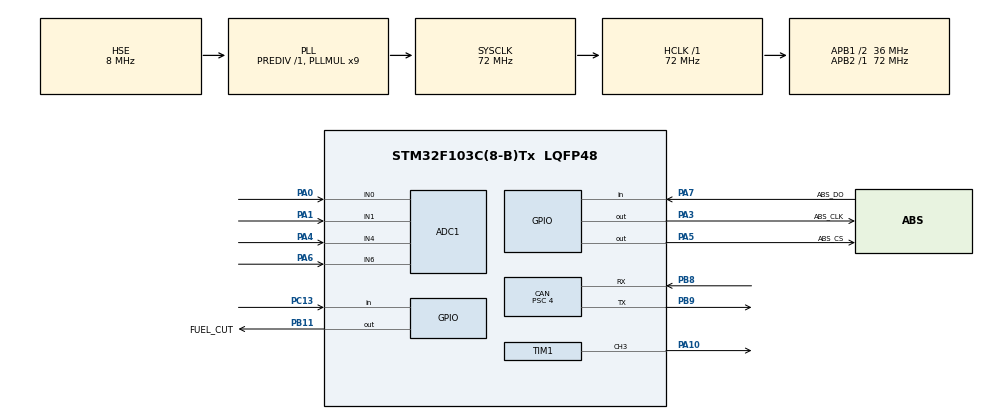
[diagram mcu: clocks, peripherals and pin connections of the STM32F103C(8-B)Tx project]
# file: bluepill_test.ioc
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ADC1.Channel-2\#ChannelRegularConversion=ADC_CHANNEL_0
ADC1.Channel-3\#ChannelRegularConversion=ADC_CHANNEL_1
ADC1.Channel-4\#ChannelRegularConversion=ADC_CHANNEL_4
ADC1.Channel-5\#ChannelRegularConversion=ADC_CHANNEL_6
ADC1.ContinuousConvMode=ENABLE
ADC1.NbrOfConversion=4
ADC1.NbrOfConversionFlag=1
ADC1.Rank-2\#ChannelRegularConversion=1
ADC1.Rank-3\#ChannelRegularConversion=2
ADC1.Rank-4\#ChannelRegularConversion=3
ADC1.Rank-5\#ChannelRegularConversion=4
ADC1.SamplingTime-2\#ChannelRegularConversion=ADC_SAMPLETIME_239CYCLES_5
ADC1.SamplingTime-3\#ChannelRegularConversion=ADC_SAMPLETIME_239CYCLES_5
ADC1.SamplingTime-4\#ChannelRegularConversion=ADC_SAMPLETIME_239CYCLES_5
ADC1.SamplingTime-5\#ChannelRegularConversion=ADC_SAMPLETIME_239CYCLES_5
ADC1.master=1
CAN.BS1=CAN_BS1_7TQ
CAN.CalculateTimeBit=1000
CAN.CalculateTimeQuantum=111.11111111111111
CAN.Prescaler=4
Dma.ADC1.0.Direction=DMA_PERIPH_TO_MEMORY
Dma.ADC1.0.Instance=DMA1_Channel1
Dma.ADC1.0.MemDataAlignment=DMA_MDATAALIGN_HALFWORD
Dma.ADC1.0.MemInc=DMA_MINC_ENABLE
Dma.ADC1.0.Mode=DMA_CIRCULAR
Dma.ADC1.0.PeriphDataAlignment=DMA_PDATAALIGN_HALFWORD
Dma.ADC1.0.PeriphInc=DMA_PINC_DISABLE
Dma.ADC1.0.Priority=DMA_PRIORITY_HIGH
Dma.Request0=ADC1
Mcu.Family=STM32F1
Mcu.Name=STM32F103C(8-B)Tx
Mcu.Package=LQFP48
NVIC.DMA1_Channel1_IRQn=true\:0\:0\:false\:false\:true\:false\:true
NVIC.PriorityGroup=NVIC_PRIORITYGROUP_2
NVIC.USB_LP_CAN1_RX0_IRQn=true\:0\:0\:false\:false\:true\:true\:true
PA0-WKUP.Signal=ADCx_IN0
PA1.Signal=ADCx_IN1
PA10.Signal=S_TIM1_CH3
PA13.Mode=Serial_Wire
PA13.Signal=SYS_JTMS-SWDIO
PA14.Mode=Serial_Wire
PA14.Signal=SYS_JTCK-SWCLK
PA3.GPIO_Label=ABS_CLK
PA3.Signal=GPIO_Output
PA4.Signal=ADCx_IN4
PA5.GPIO_Label=ABS_CS
PA5.Signal=GPIO_Output
PA6.Signal=ADCx_IN6
PA7.GPIO_Label=ABS_DO
PA7.Signal=GPIO_Input
PB11.GPIO_Label=FUEL_CUT
PB11.GPIO_PuPd=GPIO_PULLDOWN
PB11.GPIO_Speed=GPIO_SPEED_FREQ_HIGH
PB11.Signal=GPIO_Output
PB8.Mode=Master
PB8.Signal=CAN_RX
PB9.Mode=Master
PB9.Signal=CAN_TX
PC13-TAMPER-RTC.GPIO_PuPd=GPIO_NOPULL
PC13-TAMPER-RTC.Signal=GPIO_Input
PD0-OSC_IN.Mode=HSE-External-Oscillator
PD0-OSC_IN.Signal=RCC_OSC_IN
PD1-OSC_OUT.Mode=HSE-External-Oscillator
PD1-OSC_OUT.Signal=RCC_OSC_OUT
ProjectManager.HeapSize=0x200
ProjectManager.StackSize=0x400
ProjectManager.TargetToolchain=TrueSTUDIO
RCC.ADCPresc=RCC_ADCPCLK2_DIV6
RCC.AHBFreq_Value=72000000
RCC.APB1CLKDivider=RCC_HCLK_DIV2
RCC.APB1Freq_Value=36000000
RCC.APB1TimFreq_Value=72000000
RCC.APB2Freq_Value=72000000
RCC.APB2TimFreq_Value=72000000
RCC.HCLKFreq_Value=72000000
RCC.PLLMUL=RCC_PLL_MUL9
RCC.PLLSourceVirtual=RCC_PLLSOURCE_HSE
RCC.SYSCLKFreq_VALUE=72000000
RCC.SYSCLKSource=RCC_SYSCLKSOURCE_PLLCLK
RCC.USBFreq_Value=72000000
SH.ADCx_IN0.0=ADC1_IN0,IN0
SH.ADCx_IN0.1=ADC2_IN0
SH.ADCx_IN1.0=ADC1_IN1,IN1
SH.ADCx_IN4.0=ADC1_IN4,IN4
SH.ADCx_IN6.0=ADC1_IN6,IN6
SH.S_TIM1_CH3.0=TIM1_CH3,PWM Generation3 CH3
TIM1.Channel-PWM\ Generation3\ CH3=TIM_CHANNEL_3
TIM1.Period=19999
TIM1.Prescaler=71
board=custom

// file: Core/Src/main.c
/* USER CODE BEGIN Header */
/**
  ******************************************************************************
  * @file           : main.c
  * @brief          : Main program body
  ******************************************************************************
  * @attention
  *
  * <h2><center>&copy; Copyright (c) 2021 STMicroelectronics.
  * All rights reserved.</center></h2>
  *
  * This software component is licensed by ST under BSD 3-Clause license,
  * the "License"; You may not use this file except in compliance with the
  * License. You may obtain a copy of the License at:
  *                        opensource.org/licenses/BSD-3-Clause
  *
  ******************************************************************************
  */
/* USER CODE END Header */
#include "main.h"

/* USER CODE BEGIN Includes */
#include "GearControl.h"
#include "Encoder.h"
#include "MicroSwitch.h"
#include "GearSensor.h"
#include "stm32f1xx_it.h"
#include "CANManager.h"
/* USER CODE END Includes */

ADC_HandleTypeDef hadc1;
DMA_HandleTypeDef hdma_adc1;

CAN_HandleTypeDef hcan;

TIM_HandleTypeDef htim1;

/* USER CODE BEGIN PV */
__IO uint16 gearsens[N_CHANNELS];

/* USER CODE END PV */

void SystemClock_Config(void);
static void MX_GPIO_Init(void);
static void MX_DMA_Init(void);
static void MX_ADC1_Init(void);
static void MX_CAN_Init(void);
static void MX_TIM1_Init(void);

/* USER CODE BEGIN 0 */

#if 0
#define PWM_POS_DOWN (1100U)
#define PWM_POS_MID (1450U)
#define PWM_POS_TOP (1800U)
uint8 deg = 30;
void ServoTest()
{
	uint8 i = 0;
	HAL_TIM_PWM_Start(&htim1, TIM_CHANNEL_3);
	GearControl_Init(&htim1.Instance->CCR3);

	GearControl_SetServoPos(SET_DEG, POS_DEG_DEFAULT, 0);
	//Tim_Start(TIM_2MS);
	HAL_Delay(5000);
	GearControl_SetServoPos(SET_DEG, POS_DEG_DEFAULT + 30, 0);
	HAL_Delay(3000);
	GearControl_SetServoPos(SET_DEG, POS_DEG_DEFAULT + 0, 0);

	for(i = 0; i < 0; i++)
	{
	GearControl_SetServoPos(SET_DEG, POS_DEG_DEFAULT + deg, 0);
	HAL_Delay(150);
	GearControl_SetServoPos(SET_DEG, POS_DEG_DEFAULT, 0);
	HAL_Delay(2000);
	GearControl_SetServoPos(SET_DEG, POS_DEG_DEFAULT - deg, 0);
	HAL_Delay(150);
	GearControl_SetServoPos(SET_DEG, POS_DEG_DEFAULT, 0);
	HAL_Delay(2000);
	}

		GearControl_SetServoPos(SET_DEG, POS_DEG_DEFAULT, 0);
}
#endif

void PeriodicProcess2msHandler(void)
{
	/* Poll MicroSwitch Status */
	MicroSwitch_PollStatus();

	/* MicroSwitch process */
	MicroSwitch_Process();
}

void PeriodicProcess4msHandler(void)
{
	/* Gear Control process */
	GearControl_Process();

	/* Gear Sensor process */
	GearSensor_Process();
}

void PeriodicProcess100msHandler(void)
{
	OnOffSwitch_Process();
}

/* USER CODE END 0 */

int main(void)
{

  /* MCU Configuration--------------------------------------------------------*/

  /* Reset of all peripherals, Initializes the Flash interface and the Systick. */
  HAL_Init();

  /* Configure the system clock */
  SystemClock_Config();

  /* Initialize all configured peripherals */
  MX_GPIO_Init();
  MX_DMA_Init();
  MX_ADC1_Init();
  MX_CAN_Init();
  MX_TIM1_Init();
  /* USER CODE BEGIN 2 */
  __HAL_AFIO_REMAP_SWJ_NOJTAG();

  GearControl_FuelCutTrigger(OFF);
  /* Init CAN Manager */
  CANManager_Init(&hcan);
  /* Start servo PWM signal */
  HAL_TIM_PWM_Start(&htim1, TIM_CHANNEL_3);
  /* Initialize Gear Control module */
  GearControl_Init(&htim1.Instance->CCR3);
  /* Start Gear Sensor Adc DMA */
  HAL_ADC_Start_DMA(&hadc1, (uint32*)gearsens, N_CHANNELS);
  /* Initialize Gear Sensor module */
  GearSensor_Init(gearsens);
  /* Initialize MicroSwitch module */
  MicroSwitch_Init(gearsens);
  /* USER CODE END 2 */

  /* Infinite loop */
  /* USER CODE BEGIN WHILE */

  static const Scheduler schedule[N_PROCESS] = {{.handler = PeriodicProcess2msHandler, .period = 2U},
								                {.handler = PeriodicProcess4msHandler, .period = 4U},
												{.handler = PeriodicProcess100msHandler, .period = 100U}};

  while (1)
  {
    /* USER CODE END WHILE */

    /* USER CODE BEGIN 3 */
	  if (SysTickHasElapsed())
	  {
		  /* Reset Elapsed status */
		  SysTickResetElapsed();

		  /* Call Scheduler every SysTick (1ms) */
		  SchedulerEvaluate(schedule);
	  }
  }

  /* USER CODE END 3 */
}

void SystemClock_Config(void)
{
  RCC_OscInitTypeDef RCC_OscInitStruct = {0};
  RCC_ClkInitTypeDef RCC_ClkInitStruct = {0};
  RCC_PeriphCLKInitTypeDef PeriphClkInit = {0};

  /** Initializes the RCC Oscillators according to the specified parameters
  * in the RCC_OscInitTypeDef structure.
  */
  RCC_OscInitStruct.OscillatorType = RCC_OSCILLATORTYPE_HSE;
  RCC_OscInitStruct.HSEState = RCC_HSE_ON;
  RCC_OscInitStruct.HSEPredivValue = RCC_HSE_PREDIV_DIV1;
  RCC_OscInitStruct.HSIState = RCC_HSI_ON;
  RCC_OscInitStruct.PLL.PLLState = RCC_PLL_ON;
  RCC_OscInitStruct.PLL.PLLSource = RCC_PLLSOURCE_HSE;
  RCC_OscInitStruct.PLL.PLLMUL = RCC_PLL_MUL9;
  if (HAL_RCC_OscConfig(&RCC_OscInitStruct) != HAL_OK)
  {
    Error_Handler();
  }
  /** Initializes the CPU, AHB and APB buses clocks
  */
  RCC_ClkInitStruct.ClockType = RCC_CLOCKTYPE_HCLK|RCC_CLOCKTYPE_SYSCLK
                              |RCC_CLOCKTYPE_PCLK1|RCC_CLOCKTYPE_PCLK2;
  RCC_ClkInitStruct.SYSCLKSource = RCC_SYSCLKSOURCE_PLLCLK;
  RCC_ClkInitStruct.AHBCLKDivider = RCC_SYSCLK_DIV1;
  RCC_ClkInitStruct.APB1CLKDivider = RCC_HCLK_DIV2;
  RCC_ClkInitStruct.APB2CLKDivider = RCC_HCLK_DIV1;

  if (HAL_RCC_ClockConfig(&RCC_ClkInitStruct, FLASH_LATENCY_2) != HAL_OK)
  {
    Error_Handler();
  }
  PeriphClkInit.PeriphClockSelection = RCC_PERIPHCLK_ADC;
  PeriphClkInit.AdcClockSelection = RCC_ADCPCLK2_DIV6;
  if (HAL_RCCEx_PeriphCLKConfig(&PeriphClkInit) != HAL_OK)
  {
    Error_Handler();
  }
}

static void MX_ADC1_Init(void)
{

  ADC_ChannelConfTypeDef sConfig = {0};

  /** Common config
  */
  hadc1.Instance = ADC1;
  hadc1.Init.ScanConvMode = ADC_SCAN_ENABLE;
  hadc1.Init.ContinuousConvMode = ENABLE;
  hadc1.Init.DiscontinuousConvMode = DISABLE;
  hadc1.Init.ExternalTrigConv = ADC_SOFTWARE_START;
  hadc1.Init.DataAlign = ADC_DATAALIGN_RIGHT;
  hadc1.Init.NbrOfConversion = 4;
  if (HAL_ADC_Init(&hadc1) != HAL_OK)
  {
    Error_Handler();
  }
  /** Configure Regular Channel
  */
  sConfig.Channel = ADC_CHANNEL_0;
  sConfig.Rank = ADC_REGULAR_RANK_1;
  sConfig.SamplingTime = ADC_SAMPLETIME_239CYCLES_5;
  if (HAL_ADC_ConfigChannel(&hadc1, &sConfig) != HAL_OK)
  {
    Error_Handler();
  }
  /** Configure Regular Channel
  */
  sConfig.Channel = ADC_CHANNEL_1;
  sConfig.Rank = ADC_REGULAR_RANK_2;
  if (HAL_ADC_ConfigChannel(&hadc1, &sConfig) != HAL_OK)
  {
    Error_Handler();
  }
  /** Configure Regular Channel
  */
  sConfig.Channel = ADC_CHANNEL_4;
  sConfig.Rank = ADC_REGULAR_RANK_3;
  if (HAL_ADC_ConfigChannel(&hadc1, &sConfig) != HAL_OK)
  {
    Error_Handler();
  }
  /** Configure Regular Channel
  */
  sConfig.Channel = ADC_CHANNEL_6;
  sConfig.Rank = ADC_REGULAR_RANK_4;
  if (HAL_ADC_ConfigChannel(&hadc1, &sConfig) != HAL_OK)
  {
    Error_Handler();
  }

}

static void MX_CAN_Init(void)
{

  hcan.Instance = CAN1;
  hcan.Init.Prescaler = 4;
  hcan.Init.Mode = CAN_MODE_NORMAL;
  hcan.Init.SyncJumpWidth = CAN_SJW_1TQ;
  hcan.Init.TimeSeg1 = CAN_BS1_7TQ;
  hcan.Init.TimeSeg2 = CAN_BS2_1TQ;
  hcan.Init.TimeTriggeredMode = DISABLE;
  hcan.Init.AutoBusOff = DISABLE;
  hcan.Init.AutoWakeUp = DISABLE;
  hcan.Init.AutoRetransmission = DISABLE;
  hcan.Init.ReceiveFifoLocked = DISABLE;
  hcan.Init.TransmitFifoPriority = DISABLE;
  if (HAL_CAN_Init(&hcan) != HAL_OK)
  {
    Error_Handler();
  }

}

static void MX_TIM1_Init(void)
{

  TIM_MasterConfigTypeDef sMasterConfig = {0};
  TIM_OC_InitTypeDef sConfigOC = {0};
  TIM_BreakDeadTimeConfigTypeDef sBreakDeadTimeConfig = {0};

  htim1.Instance = TIM1;
  htim1.Init.Prescaler = 71;
  htim1.Init.CounterMode = TIM_COUNTERMODE_UP;
  htim1.Init.Period = 19999;
  htim1.Init.ClockDivision = TIM_CLOCKDIVISION_DIV1;
  htim1.Init.RepetitionCounter = 0;
  htim1.Init.AutoReloadPreload = TIM_AUTORELOAD_PRELOAD_DISABLE;
  if (HAL_TIM_PWM_Init(&htim1) != HAL_OK)
  {
    Error_Handler();
  }
  sMasterConfig.MasterOutputTrigger = TIM_TRGO_RESET;
  sMasterConfig.MasterSlaveMode = TIM_MASTERSLAVEMODE_DISABLE;
  if (HAL_TIMEx_MasterConfigSynchronization(&htim1, &sMasterConfig) != HAL_OK)
  {
    Error_Handler();
  }
  sConfigOC.OCMode = TIM_OCMODE_PWM1;
  sConfigOC.Pulse = 0;
  sConfigOC.OCPolarity = TIM_OCPOLARITY_HIGH;
  sConfigOC.OCNPolarity = TIM_OCNPOLARITY_HIGH;
  sConfigOC.OCFastMode = TIM_OCFAST_DISABLE;
  sConfigOC.OCIdleState = TIM_OCIDLESTATE_RESET;
  sConfigOC.OCNIdleState = TIM_OCNIDLESTATE_RESET;
  if (HAL_TIM_PWM_ConfigChannel(&htim1, &sConfigOC, TIM_CHANNEL_3) != HAL_OK)
  {
    Error_Handler();
  }
  sBreakDeadTimeConfig.OffStateRunMode = TIM_OSSR_DISABLE;
  sBreakDeadTimeConfig.OffStateIDLEMode = TIM_OSSI_DISABLE;
  sBreakDeadTimeConfig.LockLevel = TIM_LOCKLEVEL_OFF;
  sBreakDeadTimeConfig.DeadTime = 0;
  sBreakDeadTimeConfig.BreakState = TIM_BREAK_DISABLE;
  sBreakDeadTimeConfig.BreakPolarity = TIM_BREAKPOLARITY_HIGH;
  sBreakDeadTimeConfig.AutomaticOutput = TIM_AUTOMATICOUTPUT_DISABLE;
  if (HAL_TIMEx_ConfigBreakDeadTime(&htim1, &sBreakDeadTimeConfig) != HAL_OK)
  {
    Error_Handler();
  }
  HAL_TIM_MspPostInit(&htim1);

}

static void MX_DMA_Init(void)
{

  /* DMA controller clock enable */
  __HAL_RCC_DMA1_CLK_ENABLE();

  /* DMA interrupt init */
  /* DMA1_Channel1_IRQn interrupt configuration */
  HAL_NVIC_SetPriority(DMA1_Channel1_IRQn, 0, 0);
  HAL_NVIC_EnableIRQ(DMA1_Channel1_IRQn);

}

static void MX_GPIO_Init(void)
{
  GPIO_InitTypeDef GPIO_InitStruct = {0};

  /* GPIO Ports Clock Enable */
  __HAL_RCC_GPIOC_CLK_ENABLE();
  __HAL_RCC_GPIOD_CLK_ENABLE();
  __HAL_RCC_GPIOA_CLK_ENABLE();
  __HAL_RCC_GPIOB_CLK_ENABLE();

  /*Configure GPIO pin Output Level */
  HAL_GPIO_WritePin(GPIOA, ABS_CLK_Pin|ABS_CS_Pin, GPIO_PIN_RESET);

  /*Configure GPIO pin Output Level */
  HAL_GPIO_WritePin(FUEL_CUT_GPIO_Port, FUEL_CUT_Pin, GPIO_PIN_RESET);

  /*Configure GPIO pin : PC13 */
  GPIO_InitStruct.Pin = GPIO_PIN_13;
  GPIO_InitStruct.Mode = GPIO_MODE_INPUT;
  GPIO_InitStruct.Pull = GPIO_NOPULL;
  HAL_GPIO_Init(GPIOC, &GPIO_InitStruct);

  /*Configure GPIO pin : PA0 */
  GPIO_InitStruct.Pin = GPIO_PIN_0;
  GPIO_InitStruct.Mode = GPIO_MODE_ANALOG;
  HAL_GPIO_Init(GPIOA, &GPIO_InitStruct);

  /*Configure GPIO pins : ABS_CLK_Pin ABS_CS_Pin */
  GPIO_InitStruct.Pin = ABS_CLK_Pin|ABS_CS_Pin;
  GPIO_InitStruct.Mode = GPIO_MODE_OUTPUT_PP;
  GPIO_InitStruct.Pull = GPIO_NOPULL;
  GPIO_InitStruct.Speed = GPIO_SPEED_FREQ_LOW;
  HAL_GPIO_Init(GPIOA, &GPIO_InitStruct);

  /*Configure GPIO pin : ABS_DO_Pin */
  GPIO_InitStruct.Pin = ABS_DO_Pin;
  GPIO_InitStruct.Mode = GPIO_MODE_INPUT;
  GPIO_InitStruct.Pull = GPIO_NOPULL;
  HAL_GPIO_Init(ABS_DO_GPIO_Port, &GPIO_InitStruct);

  /*Configure GPIO pin : FUEL_CUT_Pin */
  GPIO_InitStruct.Pin = FUEL_CUT_Pin;
  GPIO_InitStruct.Mode = GPIO_MODE_OUTPUT_PP;
  GPIO_InitStruct.Pull = GPIO_PULLDOWN;
  GPIO_InitStruct.Speed = GPIO_SPEED_FREQ_HIGH;
  HAL_GPIO_Init(FUEL_CUT_GPIO_Port, &GPIO_InitStruct);

}

void Error_Handler(void)
{
}

/************************ (C) COPYRIGHT STMicroelectronics *****END OF FILE****/
